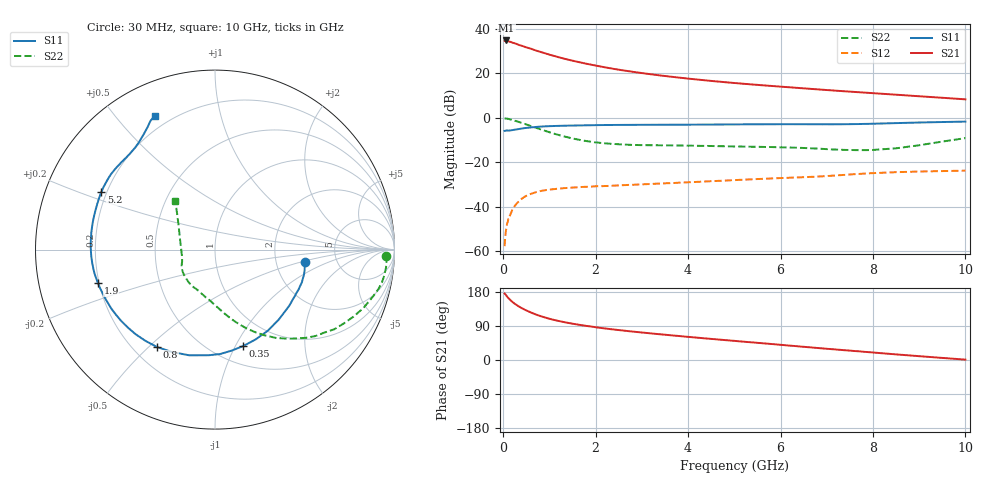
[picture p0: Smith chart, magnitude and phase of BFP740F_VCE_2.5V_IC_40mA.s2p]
! Infineon Technologies  Discrete & RF Semiconductors
! BFP740F
! VCE =  2.5 V,  IC =  40 mA
! Common Emitter S-Parameters:  Oct 2012
# GHz  S  MA  R  50
!  f  S11  S21  S12  S22
! GHz  MAG  ANG  MAG  ANG  MAG  ANG  MAG  ANG
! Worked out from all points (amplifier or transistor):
!   99 points, 30 MHz to 10 GHz, reference 50 ohm
!   highest |S21| = 34.7 dB at 70 MHz (marker M1)
!   |S21| within 3 dB of that: start of sweep to 486.5 MHz
!   unconditionally stable (mu >= 1): 4.536 GHz to end of sweep
!   at 350 MHz: K = 0.21, MSG = 35.0 dB, |S12| = -37.4 dB
!   at 3.5 GHz: K = 0.87, MSG = 24.1 dB, |S12| = -29.5 dB
!   at 10 GHz: K = 1.17, MAG = 13.5 dB, |S12| = -23.8 dB
!   S11 on the Smith chart (normalised r, x): 30 MHz: 2.93, -0.56; 350 MHz: 0.69, -1.08; 800 MHz: 0.29, -0.53; 1.9 GHz: 0.20, -0.13; 5.2 GHz: 0.18, +0.23; 10 GHz: 0.14, +0.64
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0.03  0.5061 -8.1  53.45 175.6  0.0013 71.1  0.9544 -2.0
0.05  0.512 -12.7  54.44 172.8  0.0024 98.6  0.9583 -4.7
0.07  0.5154 -18.2  54.5 169.5  0.0033 80.4  0.9556 -7.4
0.09  0.5159 -23.1  53.67 166.3  0.0044 76.2  0.951 -9.9
0.13  0.5148 -32.8  51.39 161.0  0.0058 79.9  0.9302 -14.6
0.2  0.5277 -47.8  48.69 153.1  0.0087 71.0  0.8892 -21.4
0.3  0.5492 -65.6  44.98 144.2  0.0121 66.5  0.8267 -29.9
0.35  0.5599 -73.7  42.81 140.4  0.0135 63.0  0.7977 -33.9
0.45  0.5825 -87.2  39.72 133.7  0.0164 57.8  0.7386 -40.7
0.6  0.6062 -103.7  35.45 125.3  0.0195 50.9  0.6484 -50.0
0.8  0.6314 -120.7  30.23 116.1  0.0224 44.1  0.5518 -60.0
1  0.6465 -133.2  26.16 108.8  0.0243 39.6  0.4719 -68.3
1.2  0.6567 -142.8  22.9 103.0  0.0255 36.2  0.4098 -75.2
1.7  0.6724 -159.4  17.21 91.8  0.0278 32.4  0.3111 -89.6
1.9  0.6784 -164.2  15.61 88.3  0.0283 31.7  0.288 -94.9
2.6  0.6903 -177.0  11.57 77.7  0.0305 31.2  0.25 -110.2
3.4  0.6955 172.2  8.907 67.8  0.0332 32.3  0.2403 -121.2
5.1  0.709 154.0  5.916 49.4  0.0401 33.9  0.2256 -137.2
5.2  0.71 153.1  5.795 48.4  0.0406 33.9  0.2245 -138.1
6.7  0.7134 138.2  4.415 32.8  0.0471 34.2  0.2047 -155.1
8.5  0.7571 121.5  3.295 14.8  0.0598 29.4  0.2057 162.0
10  0.8189 114.3  2.59 1.0  0.0647 23.2  0.3486 129.4
